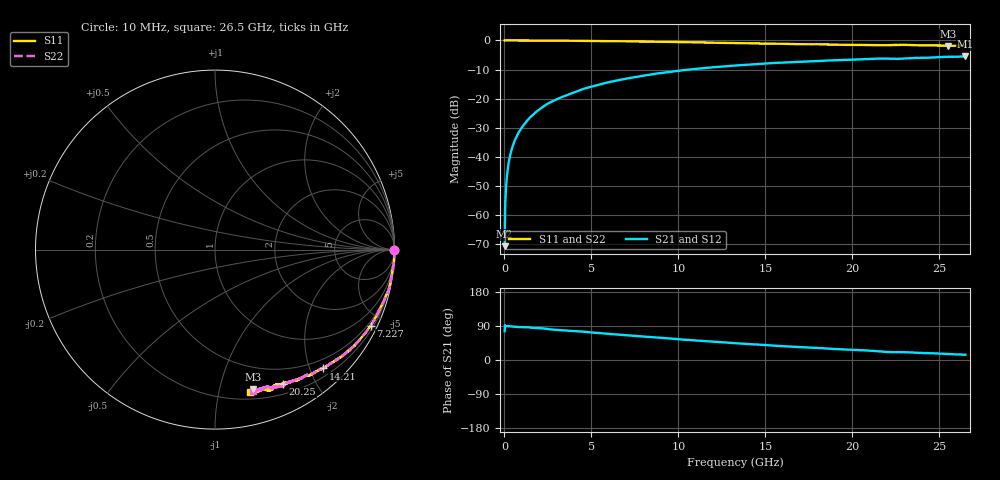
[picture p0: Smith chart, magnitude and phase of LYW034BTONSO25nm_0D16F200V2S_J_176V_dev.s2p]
!Keysight Technologies,N5222B,MY61253708,A.15.00.15
!Date: Wednesday, June 19, 2024 10:27:25
!Correction: S11(C  2-Port  )
!S21(C  2-Port  )
!S12(C  2-Port  )
!S22(C  2-Port  )
!S2P File: Measurements: S11, S21, S12, S22:
# Hz S  RI  R 50
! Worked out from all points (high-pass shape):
!   2651 points, 10 MHz to 26.5 GHz, reference 50 ohm
!   highest |S21| = -5.46 dB at 26.5 GHz (marker M1); lowest = -70.7 dB at 10 MHz (marker M2)
!   |S21| within 3 dB of the highest: 13.63305 GHz to 13.67389 GHz (40.84 MHz wide, 0.299 % of centre); 13.69 GHz to end of sweep
!   lowest |S11| = -1.9 dB at 25.5 GHz (marker M3), VSWR 9.28, Z = 14.3 - j63.4 ohm
!   |S11| at or under -10 dB: nowhere
!   |S22| runs from -1.8 to 0.0 dB; largest |S21 - S12| = 0.0067
!   S11 on the Smith chart (normalised r, x): 10 MHz: open; 7.227 GHz: 0.35, -4.29; 14.21 GHz: 0.33, -2.22; 20.25 GHz: 0.31, -1.58; 26.5 GHz: 0.26, -1.24
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1e7  0.9984 -0.00334  7.06e-05 0.000283  -0.000182 0.000224  0.9984 -0.00175
7.997358e7  0.9999 -0.00569  3.94e-05 0.00255  3.24e-06 0.00258  0.9994 -0.00511
1.499472e8  1 -0.0107  4.27e-05 0.00487  3.86e-05 0.00488  0.9997 -0.00986
1.899321e8  1 -0.0125  8.68e-05 0.00616  8.86e-05 0.00617  0.9999 -0.0116
2.599057e8  0.9997 -0.0174  0.000157 0.00848  0.000123 0.00843  0.9997 -0.0163
3.598679e8  0.9995 -0.0242  0.000284 0.0116  0.000283 0.0117  0.9998 -0.0233
4.898189e8  0.9987 -0.0326  0.000493 0.0158  0.000488 0.0159  0.9985 -0.0311
6.497585e8  0.9986 -0.0424  0.000865 0.0209  0.000845 0.021  0.9987 -0.0408
8.396868e8  0.9979 -0.0548  0.00143 0.027  0.00143 0.027  0.998 -0.0539
1.459453e9  0.991 -0.0966  0.00344 0.0472  0.00345 0.0472  0.9935 -0.0919
2.329125e9  0.9825 -0.1491  0.00944 0.0759  0.00953 0.0761  0.9839 -0.1486
3.208792e9  0.9722 -0.2043  0.0202 0.1017  0.0202 0.102  0.9731 -0.2021
4.428332e9  0.9447 -0.2764  0.0367 0.1387  0.0369 0.139  0.9471 -0.2722
7.227275e9  0.8668 -0.4241  0.0971 0.2048  0.098 0.2051  0.8691 -0.4209
8.846664e9  0.8096 -0.4973  0.14 0.2334  0.1409 0.2335  0.8128 -0.4934
1.3255e10  0.6372 -0.6394  0.2647 0.2597  0.2662 0.2591  0.6437 -0.6356
1.421464e10  0.6012 -0.6624  0.2892 0.2575  0.2905 0.2569  0.6082 -0.6545
1.767333e10  0.4669 -0.7217  0.3703 0.2346  0.3729 0.2329  0.4808 -0.7172
2.025236e10  0.3783 -0.7489  0.4215 0.2085  0.4238 0.2061  0.3981 -0.746
2.209166e10  0.3317 -0.7575  0.454 0.1749  0.4551 0.1723  0.3298 -0.7627
2.550038e10  0.2118 -0.7772  0.5041 0.1395  0.505 0.1394  0.2365 -0.7795
2.65e10  0.1923 -0.792  0.5177 0.1287  0.5166 0.125  0.21 -0.7899
